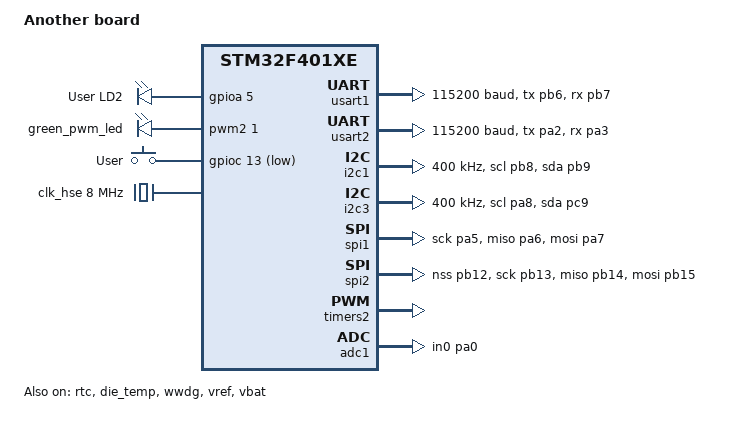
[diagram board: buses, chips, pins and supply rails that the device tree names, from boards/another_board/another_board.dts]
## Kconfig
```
menuconfig APP_HEARTBEAT_PERIOD_MS
	int "APP_HEARTBEAT_PERIOD_MS"
	default 500
	range 100 2000

menu "Zephyr Configuration"
	source "Kconfig.zephyr"
endmenu
```

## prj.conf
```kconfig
CONFIG_GPIO=y
CONFIG_LOG=y



CONFIG_APP_HEARTBEAT_PERIOD_MS=500
```

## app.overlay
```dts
/{
    aliases {
        app-led = &myLedNodeLabel;
    };
    
    leds:leds {
        compatible = "gpio-leds";
        myLedNodeLabel: myLedNode {
            gpios = <&gpioc 7 GPIO_ACTIVE_HIGH>;
            label = "External LED";
        };
    };
};
```

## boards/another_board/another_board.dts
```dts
/*
 * Copyright (c) 2017 Linaro Limited
 * Copyright (c) 2019 Centaur Analytics, Inc
 *
 * SPDX-License-Identifier: Apache-2.0
 */

/dts-v1/;
#include <st/f4/stm32f401Xe.dtsi>
#include <st/f4/stm32f401r(d-e)tx-pinctrl.dtsi>
#include <zephyr/dt-bindings/input/input-event-codes.h>

/ {
	model = "Another board";
	compatible = "fernando-electronics,another_board";

	chosen {
		zephyr,console = &usart2;
		zephyr,shell-uart = &usart2;
		zephyr,sram = &sram0;
		zephyr,flash = &flash0;
		zephyr,code-partition = &slot0_partition;
	};

	leds: leds {
		compatible = "gpio-leds";

		green_led_2: led_2 {
			gpios = <&gpioa 5 GPIO_ACTIVE_HIGH>;
			label = "User LD2";
		};
	};

	pwmleds {
		compatible = "pwm-leds";

		green_pwm_led: green_pwm_led {
			pwms = <&pwm2 1 PWM_MSEC(20) PWM_POLARITY_NORMAL>;
		};
	};

	gpio_keys {
		compatible = "gpio-keys";

		user_button: button {
			label = "User";
			gpios = <&gpioc 13 GPIO_ACTIVE_LOW>;
			zephyr,code = <INPUT_KEY_0>;
		};
	};

	aliases {
		led0 = &green_led_2;
		sw0 = &user_button;
		pwm-led0 = &green_pwm_led;
		watchdog0 = &wwdg;
		die-temp0 = &die_temp;
		volt-sensor0 = &vref;
		volt-sensor1 = &vbat;
	};
};

&clk_lsi {
	status = "okay";
};

&clk_hse {
	hse-bypass;
	clock-frequency = <DT_FREQ_M(8)>; /* STLink 8MHz clock */
	status = "okay";
};

&pll {
	div-m = <8>;
	mul-n = <336>;
	div-p = <4>;
	div-q = <7>;
	clocks = <&clk_hse>;
	status = "okay";
};

&rcc {
	clocks = <&pll>;
	clock-frequency = <DT_FREQ_M(84)>;
	ahb-prescaler = <1>;
	apb1-prescaler = <2>;
	apb2-prescaler = <1>;
};

&usart1 {
	pinctrl-0 = <&usart1_tx_pb6 &usart1_rx_pb7>;
	pinctrl-names = "default";
	current-speed = <115200>;
	status = "okay";
};

&usart2 {
	pinctrl-0 = <&usart2_tx_pa2 &usart2_rx_pa3>;
	pinctrl-names = "default";
	current-speed = <115200>;
	status = "okay";
};

&i2c1 {
	pinctrl-0 = <&i2c1_scl_pb8 &i2c1_sda_pb9>;
	pinctrl-names = "default";
	status = "okay";
	clock-frequency = <I2C_BITRATE_FAST>;
};

&i2c3 {
	pinctrl-0 = <&i2c3_scl_pa8 &i2c3_sda_pc9>;
	pinctrl-names = "default";
	status = "okay";
	clock-frequency = <I2C_BITRATE_FAST>;
};

&spi1 {
	pinctrl-0 = <&spi1_sck_pa5 &spi1_miso_pa6 &spi1_mosi_pa7>;
	pinctrl-names = "default";
	cs-gpios = <&gpiob 6 (GPIO_ACTIVE_LOW | GPIO_PULL_UP)>;
	status = "okay";
};

&spi2 {
	pinctrl-0 = <&spi2_nss_pb12 &spi2_sck_pb13
		     &spi2_miso_pb14 &spi2_mosi_pb15>;
	pinctrl-names = "default";
	status = "okay";
};

&flash0 {
	partitions {
		compatible = "fixed-partitions";
		#address-cells = <1>;
		#size-cells = <1>;

		boot_partition: partition@0 {
			label = "mcuboot";
			reg = <0x00000000 DT_SIZE_K(64)>;
			read-only;
		};

		/*
		 * The flash starting at offset 0x10000 and ending at
		 * offset 0x1ffff is reserved for use by the application.
		 */

		slot0_partition: partition@20000 {
			label = "image-0";
			reg = <0x00020000 DT_SIZE_K(128)>;
		};

		slot1_partition: partition@40000 {
			label = "image-1";
			reg = <0x00040000 DT_SIZE_K(128)>;
		};

		scratch_partition: partition@60000 {
			label = "image-scratch";
			reg = <0x00060000 DT_SIZE_K(128)>;
		};
	};
};

&timers2 {
	status = "okay";

	pwm2: pwm {
		status = "okay";
		pinctrl-0 = <&tim2_ch1_pa5>;
		pinctrl-names = "default";
	};
};

&rtc {
	clocks = <&rcc STM32_CLOCK(APB1, 28)>,
		 <&rcc STM32_SRC_LSI RTC_SEL(2)>;
	status = "okay";
};

&adc1 {
	pinctrl-0 = <&adc1_in0_pa0>;
	pinctrl-names = "default";
	st,adc-clock-source = "SYNC";
	st,adc-prescaler = <2>;
	status = "okay";
};

&die_temp {
	status = "okay";
};

&wwdg {
	status = "okay";
};

&vref {
	status = "okay";
};

&vbat {
	status = "okay";
};
```

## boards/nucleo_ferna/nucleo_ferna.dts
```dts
/*
 * Copyright (c) 2017 Linaro Limited
 * Copyright (c) 2019 Centaur Analytics, Inc
 *
 * SPDX-License-Identifier: Apache-2.0
 */

/dts-v1/;
#include <st/f4/stm32f401Xe.dtsi>
#include <st/f4/stm32f401r(d-e)tx-pinctrl.dtsi>
#include <zephyr/dt-bindings/input/input-event-codes.h>

/ {
	model = "Fernando STM32F401RE-NUCLEO board";
	compatible = "Fernando,nucleo_ferna";

	chosen {
		zephyr,console = &usart2;
		zephyr,shell-uart = &usart2;
		zephyr,sram = &sram0;
		zephyr,flash = &flash0;
		zephyr,code-partition = &slot0_partition;
	};

	leds: leds {
		compatible = "gpio-leds";

		green_led_2: led_2 {
			gpios = <&gpioa 5 GPIO_ACTIVE_HIGH>;
			label = "User LD2";
		};
	};

	pwmleds {
		compatible = "pwm-leds";

		green_pwm_led: green_pwm_led {
			pwms = <&pwm2 1 PWM_MSEC(20) PWM_POLARITY_NORMAL>;
		};
	};

	gpio_keys {
		compatible = "gpio-keys";

		user_button: button {
			label = "User";
			gpios = <&gpioc 13 GPIO_ACTIVE_LOW>;
			zephyr,code = <INPUT_KEY_0>;
		};
	};

	aliases {
		led0 = &green_led_2;
		sw0 = &user_button;
		pwm-led0 = &green_pwm_led;
		watchdog0 = &wwdg;
		die-temp0 = &die_temp;
		volt-sensor0 = &vref;
		volt-sensor1 = &vbat;
	};
};

&clk_lsi {
	status = "okay";
};

&clk_hse {
	hse-bypass;
	clock-frequency = <DT_FREQ_M(8)>; /* STLink 8MHz clock */
	status = "okay";
};

&pll {
	div-m = <8>;
	mul-n = <336>;
	div-p = <4>;
	div-q = <7>;
	clocks = <&clk_hse>;
	status = "okay";
};

&rcc {
	clocks = <&pll>;
	clock-frequency = <DT_FREQ_M(84)>;
	ahb-prescaler = <1>;
	apb1-prescaler = <2>;
	apb2-prescaler = <1>;
};

&usart1 {
	pinctrl-0 = <&usart1_tx_pb6 &usart1_rx_pb7>;
	pinctrl-names = "default";
	current-speed = <115200>;
	status = "okay";
};

&usart2 {
	pinctrl-0 = <&usart2_tx_pa2 &usart2_rx_pa3>;
	pinctrl-names = "default";
	current-speed = <115200>;
	status = "okay";
};

&i2c1 {
	pinctrl-0 = <&i2c1_scl_pb8 &i2c1_sda_pb9>;
	pinctrl-names = "default";
	status = "okay";
	clock-frequency = <I2C_BITRATE_FAST>;
};

&i2c3 {
	pinctrl-0 = <&i2c3_scl_pa8 &i2c3_sda_pc9>;
	pinctrl-names = "default";
	status = "okay";
	clock-frequency = <I2C_BITRATE_FAST>;
};

&spi1 {
	pinctrl-0 = <&spi1_sck_pa5 &spi1_miso_pa6 &spi1_mosi_pa7>;
	pinctrl-names = "default";
	cs-gpios = <&gpiob 6 (GPIO_ACTIVE_LOW | GPIO_PULL_UP)>;
	status = "okay";
};

&spi2 {
	pinctrl-0 = <&spi2_nss_pb12 &spi2_sck_pb13
		     &spi2_miso_pb14 &spi2_mosi_pb15>;
	pinctrl-names = "default";
	status = "okay";
};

&flash0 {
	partitions {
		compatible = "fixed-partitions";
		#address-cells = <1>;
		#size-cells = <1>;

		boot_partition: partition@0 {
			label = "mcuboot";
			reg = <0x00000000 DT_SIZE_K(64)>;
			read-only;
		};

		/*
		 * The flash starting at offset 0x10000 and ending at
		 * offset 0x1ffff is reserved for use by the application.
		 */

		slot0_partition: partition@20000 {
			label = "image-0";
			reg = <0x00020000 DT_SIZE_K(128)>;
		};

		slot1_partition: partition@40000 {
			label = "image-1";
			reg = <0x00040000 DT_SIZE_K(128)>;
		};

		scratch_partition: partition@60000 {
			label = "image-scratch";
			reg = <0x00060000 DT_SIZE_K(128)>;
		};
	};
};

&timers2 {
	status = "okay";

	pwm2: pwm {
		status = "okay";
		pinctrl-0 = <&tim2_ch1_pa5>;
		pinctrl-names = "default";
	};
};

&rtc {
	clocks = <&rcc STM32_CLOCK(APB1, 28)>,
		 <&rcc STM32_SRC_LSI RTC_SEL(2)>;
	status = "okay";
};

&adc1 {
	pinctrl-0 = <&adc1_in0_pa0>;
	pinctrl-names = "default";
	st,adc-clock-source = "SYNC";
	st,adc-prescaler = <2>;
	status = "okay";
};

&die_temp {
	status = "okay";
};

&wwdg {
	status = "okay";
};

&vref {
	status = "okay";
};

&vbat {
	status = "okay";
};
```

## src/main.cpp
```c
#include <zephyr/drivers/gpio.h>
#include <zephyr/kernel.h>
#include <zephyr/logging/log.h>
#include <zephyr/init.h>
#include <stdio.h>
#define MY_INIT_PRIO 32
#define SYS_INIT(executeBeforeMain, APPLICATION, MY_INIT_PRIO); 
#define SLEEP_TIME_MS CONFIG_APP_HEARTBEAT_PERIOD_MS
#define LED_NODE DT_ALIAS(app_led)

static const struct gpio_dt_spec led = GPIO_DT_SPEC_GET(LED_NODE, gpios);
static int executeBeforeMain(void) {
    printf("This is a function that executes before main() is called.\n");
    return 0;
}
LOG_MODULE_REGISTER(main, LOG_LEVEL_INF);

int main(void)
{
    //bool led_state = true;
    bool led_state = false;

    if (!gpio_is_ready_dt(&led)) return 0;

    if (gpio_pin_configure_dt(&led, GPIO_OUTPUT_ACTIVE) < 0) return 0;

    while (1) {
        if (gpio_pin_toggle_dt(&led) < 0) return 0;

        led_state = !led_state;
        LOG_INF("LED state: %s", led_state ? "ON" : "OFF");
        k_msleep(SLEEP_TIME_MS);
    }
    return 0;
}
```
